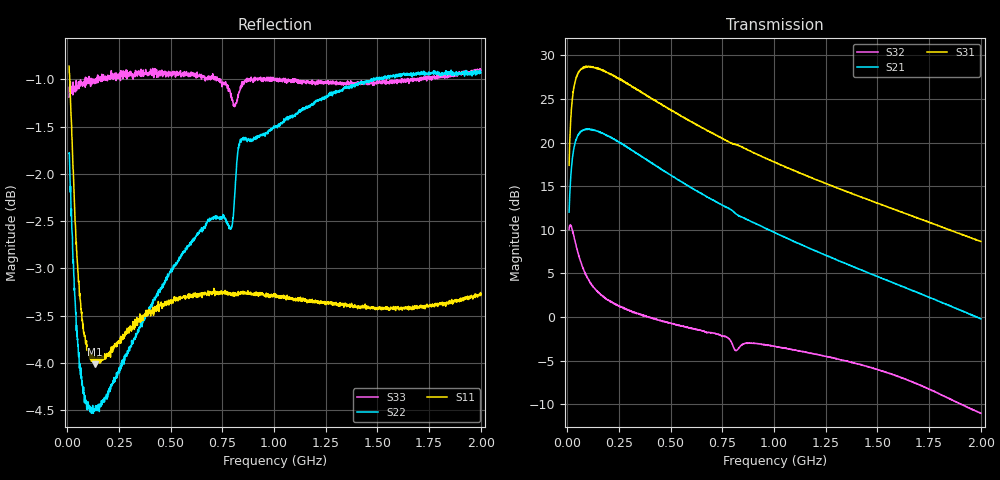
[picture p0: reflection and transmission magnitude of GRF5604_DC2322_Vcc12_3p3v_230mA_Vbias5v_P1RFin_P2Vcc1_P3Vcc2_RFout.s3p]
!Keysight Technologies,N5244B,MY57181157,A.18.40.03
!Date: Wednesday, September 10, 2025 10:37:37
!Correction: S11(C  3-Port  )
!S12(C  3-Port  )
!S13(C  3-Port  )
!S21(C  3-Port  )
!S22(C  3-Port  )
!S23(C  3-Port  )
!S31(C  3-Port  )
!S32(C  3-Port  )
!S33(C  3-Port  )
!S3P File: Measurements: <S11,S12,S13>,
!<S21,S22,S23>,
!<S31,S32,S33>:
# Hz S  RI  R 50
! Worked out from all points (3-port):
!   1991 points, 10 MHz to 2 GHz, reference 50 ohm
!   strongest paths, dB at 10 MHz, 507 MHz, 1.005 GHz, 1.503 GHz, 2 GHz:
!     S31: 17.4, 23.6, 17.8, 13.0, 8.7
!     S21: 12.0, 16.2, 9.7, 4.6, -0.2
!     S32: 10.0, -0.8, -3.4, -6.0, -11.0
!   lowest |S11| = -4.0 dB at 136 MHz (marker M1), VSWR 4.41, Z = 40.7 - j72.6 ohm
!   |S11| at or under -10 dB: nowhere
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1e7  0.8907 -0.1629  0.0411 -0.0113  0.000401 -0.000314
     -1.697 -3.616  0.7097 -0.3994  0.00384 -0.00799
     -1.102 7.322  -2.991 -1.064  -0.3355 -0.8048
3e7  0.7269 -0.3301  0.0268 -0.0191  -0.00014 -1.11e-05
     -6.866 -5.489  0.2204 -0.6807  0.00133 -0.000262
     12.31 15.1  -2.851 0.9554  -0.7943 -0.3805
6e7  0.5521 -0.4051  0.0145 -0.0155  -0.000185 -0.000155
     -10.96 -2.635  -0.2069 -0.5921  0.00347 0.00303
     24.23 8.524  -1.805 1.227  -0.864 -0.2056
9.2e7  0.4475 -0.4662  0.00978 -0.0108  0.000174 0.000259
       -11.9 0.5131  -0.3749 -0.4694  0.00484 0.00369
       27.11 0.5197  -1.357 1.074  -0.8741 -0.144
1.36e8  0.328 -0.5378  0.00818 -0.00679  -8.72e-05 0.000132
        -11.12 3.634  -0.4706 -0.365  0.00593 0.00418
        25.8 -7.557  -1.107 0.9354  -0.8855 -0.1026
2.65e8  0.00477 -0.6501  0.00845 -0.00154  -0.000345 6.73e-05
        -6.49 7.395  -0.5832 -0.2392  0.0082 0.00531
        14.83 -17.2  -0.801 0.808  -0.8919 -0.0615
4.91e8  -0.3408 -0.5882  0.00998 -0.000332  -0.000343 0.000837
        -1.016 6.527  -0.6867 -0.1428  0.0107 0.005
        1.394 -15.62  -0.502 0.7815  -0.8987 -0.0446
7.02e8  -0.4861 -0.4842  0.0105 -0.000443  -0.000642 0.00139
        0.9032 4.611  -0.7494 -0.077  0.0119 0.00658
        -3.419 -10.75  -0.274 0.7641  -0.8916 -0.0309
1.005e9  -0.5851 -0.3594  0.00976 -0.00124  -0.000461 0.00206
         1.605 2.594  -0.8411 0.00486  0.00886 0.00212
         -5.314 -5.602  -0.0534 0.6776  -0.8914 -0.0197
2e9  -0.6853 0.0391  0.00872 0.00176  0.000404 0.00469
     0.9591 0.1842  -0.805 0.3999  0.0101 0.00992
     -2.597 0.7754  0.2074 0.1892  -0.8882 0.1491
